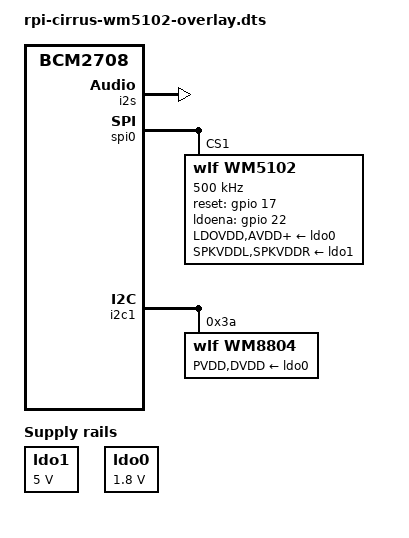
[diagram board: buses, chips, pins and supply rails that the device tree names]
// Definitions for Cirrus audio card
/dts-v1/;
/plugin/;

/ {
	compatible = "brcm,bcm2708";

	fragment@0 {
		target-path = "/";
		__overlay__ {
			aliases {
				ldo0 = &ldo0;
				ldo1 = &ldo1;
			};
		};
	};

	fragment@1 {
		target = <&sound>;
		__overlay__ {
			compatible = "wlf,rpi-wm5102";
			i2s-controller = <&i2s>;
			status = "okay";
		};
	};

	fragment@2 {
		target = <&i2s>;
		__overlay__ {
			status = "okay";
		};
	};

	fragment@3 {
		target = <&gpio>;
		__overlay__ {
			wlf_pins: wlf_pins {
				brcm,pins = <17 22 27>;
				brcm,function = <1 1 0>;
			};
		};
	};

	fragment@4 {
		target-path = "/soc";
		__overlay__ {

			ldo1: ldo1 {
				compatible = "regulator-fixed";
				regulator-name = "DC_5V";
				regulator-min-microvolt = <5000000>;
				regulator-max-microvolt = <5000000>;
				enable-active-high;
				regulator-always-on;
			};

			ldo0: ldo0 {
				compatible = "regulator-fixed";
				regulator-name = "DC_1V8";
				regulator-min-microvolt = <1800000>;
				regulator-max-microvolt = <1800000>;
				enable-active-high;
				regulator-always-on;
			};
		};
	};

	fragment@5 {
		target = <&spi0>;
		__overlay__ {
			#address-cells = <1>;
			#size-cells = <0>;
			status = "okay";

			spidev@1{
				status = "disabled";
			};

			wm5102@1{
				compatible = "wlf,wm5102";
				reg = <1>;
				#address-cells = <1>;
				#size-cells = <0>;
				spi-max-frequency = <500000>;

				LDOVDD-supply = <&ldo0>;
				AVDD-supply = <&ldo0>;
				DBVDD1-supply = <&ldo0>;
				DBVDD2-supply = <&ldo0>;
				DBVDD3-supply = <&ldo0>;
				CPVDD-supply = <&ldo0>;
				SPKVDDL-supply = <&ldo1>;
				SPKVDDR-supply = <&ldo1>;

				wlf,reset = <&gpio 17 0>;
				wlf,ldoena = <&gpio 22 0>;
				wlf,gpio-defaults = <
					0x000fffff
					0x000fffff
					0x000fffff
					0x000fffff
					0x000fffff
				>;
				wlf,micd-configs = <0 1 0>;
				wlf,dmic-ref = <0 2 0 0>;
				wlf,clk32k-src = <3>;
				wlf,inmode = <0 2 1 0>;
				status = "okay";
			};
		};
	};

	fragment@6 {
		target = <&i2c1>;
		__overlay__ {
			status = "okay";
			#address-cells = <1>;
			#size-cells = <0>;

			wm8804@3a {
				#sound-dai-cells = <0>;
				compatible = "wlf,wm8804";
				reg = <0x3a>;
				status = "okay";
				PVDD-supply = <&ldo0>;
				DVDD-supply = <&ldo0>;
			};
		};
	};
};
